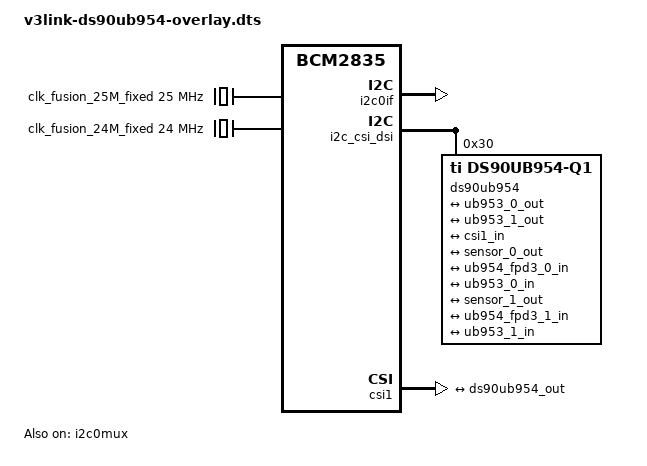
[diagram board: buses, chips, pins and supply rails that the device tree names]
// SPDX-License-Identifier: GPL-2.0-only OR BSD-2-Clause
/dts-v1/;
/plugin/;

/ {
	compatible = "brcm,bcm2835";

	fragment@0 {
		target = <&i2c0if>;

		__overlay__ {
			status = "okay";
		};
	};

	fragment@1 {
		target = <&i2c0mux>;
		__overlay__ {
			status = "okay";
		};
	};

	fragment@2 {
		target = <&i2c_csi_dsi>;
		__overlay__ {
			status = "okay";

			ds90ub954: ds90ub954@30 {
				status = "okay";
				compatible = "ti,ds90ub954-q1";
				reg = <0x30>;
				clocks = <&clk_fusion_25M_fixed>;
				clock-names = "refclk";
				i2c-alias-pool = <0x46 0x47>;

				ports {
					#address-cells = <1>;
					#size-cells = <0>;

					port@0 {
						reg = <0>;

						ub954_fpd3_0_in: endpoint {
							remote-endpoint = <&ub953_0_out>;
						};
					};

					port@1 {
						reg = <1>;

						ub954_fpd3_1_in: endpoint {
							remote-endpoint = <&ub953_1_out>;
						};
					};

					port@2 {
						reg = <2>;

						ds90ub954_out: endpoint {
							remote-endpoint = <&csi1_in>;
							data-lanes = <1 2>;
							link-frequencies = /bits/ 64 <400000000>;
						};
					};
				};

				links {
					#address-cells = <1>;
					#size-cells = <0>;

					/* Link 0 has DS90UB953 serializer and IMX219 sensor */
					link@0 {
						reg = <0>;
						i2c-alias = <0x44>;

						ti,rx-mode = <3>;
						ti,bc-gpio = <0>;

						serializer0: serializer {
							compatible = "ti,ds90ub953-q1";

							gpio-controller;
							#gpio-cells = <2>;
							#clock-cells = <0>;

							ports {
								#address-cells = <1>;
								#size-cells = <0>;

								port@0 {
									reg = <0>;

									ub953_0_in: endpoint {
										data-lanes = <1 2>;
										remote-endpoint = <&sensor_0_out>;
									};
								};

								port@1 {
									reg = <1>;

									ub953_0_out: endpoint {
										remote-endpoint = <&ub954_fpd3_0_in>;
									};
								};
							};

							i2c {
								#address-cells = <1>;
								#size-cells = <0>;

								sensor@10 {
									compatible = "sony,imx219";
									reg = <0x10>;
									clocks = <&clk_fusion_24M_fixed>;
									clock-names = "xclk";

									port {
										sensor_0_out: endpoint {
											remote-endpoint = <&ub953_0_in>;
											data-lanes = <1 2>;
											link-frequencies = /bits/ 64 <456000000>;
										};
									};
								};
							};
						};
					};

					/* Link 1 has DS90UB953 serializer and IMX219 sensor */
					link@1 {
						reg = <1>;
						i2c-alias = <0x45>;

						ti,rx-mode = <3>;
						ti,bc-gpio = <0>;

						serializer1: serializer {
							compatible = "ti,ds90ub953-q1";

							gpio-controller;
							#gpio-cells = <2>;
							#clock-cells = <0>;

							ports {
								#address-cells = <1>;
								#size-cells = <0>;

								port@0 {
									reg = <0>;

									ub953_1_in: endpoint {
										data-lanes = <1 2>;
										remote-endpoint = <&sensor_1_out>;
									};
								};

								port@1 {
									reg = <1>;

									ub953_1_out: endpoint {
										remote-endpoint = <&ub954_fpd3_1_in>;
									};
								};
							};

							i2c {
								#address-cells = <1>;
								#size-cells = <0>;

								sensor@10 {
									compatible = "sony,imx219";
									reg = <0x10>;
									clocks = <&clk_fusion_24M_fixed>;
									clock-names = "xclk";

									port {
										sensor_1_out: endpoint {
											remote-endpoint = <&ub953_1_in>;
											data-lanes = <1 2>;
											link-frequencies = /bits/ 64 <456000000>;
										};
									};
								};
							};
						};
					};
				};
			};
		};
	};

	// create clock for DS90UB954 deserializer
	fragment@3 {
		target-path = "/";

		__overlay__ {
			clk_fusion_25M_fixed: fixed-clock-25m {
				compatible = "fixed-clock";
				#clock-cells = <0>;
				clock-frequency = <25000000>;
			};

			clk_fusion_24M_fixed: fixed-clock-24m {
				compatible = "fixed-clock";
				#clock-cells = <0>;
				clock-frequency = <24000000>;
			};
		};
	};

	// enable CSI-1 and connect to DS90UB954
	fragment@4 {
		target = <&csi1>;

		__overlay__ {
			status = "okay";
			compatible = "brcm,bcm2835-unicam-upstream";

			port {
				csi1_in: endpoint {
					remote-endpoint = <&ds90ub954_out>;
					data-lanes = <1 2>;
				};
			};
		};
	};
};
